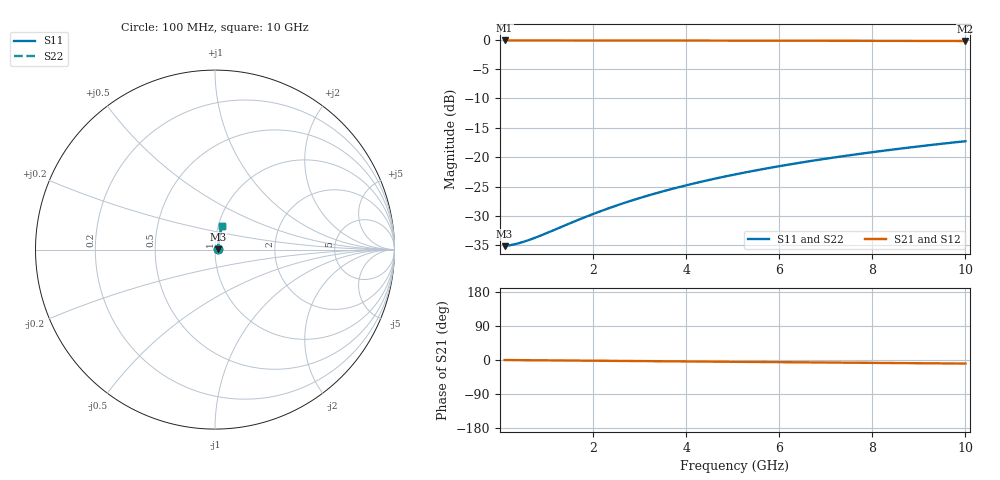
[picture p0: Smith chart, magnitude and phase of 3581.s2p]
# Hz S RI R 50.00
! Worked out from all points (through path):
!   100 points, 100 MHz to 10 GHz, reference 50 ohm
!   highest |S21| = -0.15 dB at 100 MHz (marker M1); lowest = -0.2 dB at 10 GHz (marker M2)
!   group delay of S21, straight-line fit = 2.61 ps
!   lowest |S11| = -35.1 dB at 100 MHz (marker M3), VSWR 1.04, Z = 51.8 + j0.138 ohm
!   |S11| at or under -10 dB: start of sweep to end of sweep
!   |S22| runs from -35.1 to -17.3 dB; largest |S21 - S12| = 0
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1e8  0.0174 0.00134  0.9826 -0.00162  0.9826 -0.00162  0.0174 0.00134
3e8  0.0176 0.00401  0.9824 -0.00486  0.9824 -0.00486  0.0176 0.00401
4e8  0.0177 0.00534  0.9823 -0.00648  0.9823 -0.00648  0.0177 0.00534
5e8  0.0178 0.00668  0.9822 -0.0081  0.9822 -0.0081  0.0178 0.00668
7e8  0.0179 0.00935  0.9821 -0.0113  0.9821 -0.0113  0.0179 0.00935
1e9  0.0182 0.0134  0.9818 -0.0162  0.9818 -0.0162  0.0182 0.0134
1.8e9  0.0189 0.024  0.9811 -0.0291  0.9811 -0.0291  0.0189 0.024
2.2e9  0.0193 0.0293  0.9807 -0.0356  0.9807 -0.0356  0.0193 0.0293
2.6e9  0.0198 0.0346  0.9802 -0.042  0.9802 -0.042  0.0198 0.0346
3e9  0.0203 0.0399  0.9796 -0.0485  0.9796 -0.0485  0.0203 0.0399
3.4e9  0.021 0.0452  0.979 -0.0549  0.979 -0.0549  0.021 0.0452
3.8e9  0.0216 0.0505  0.9783 -0.0613  0.9783 -0.0613  0.0216 0.0505
4.2e9  0.0224 0.0558  0.9775 -0.0678  0.9775 -0.0678  0.0224 0.0558
4.6e9  0.0232 0.0611  0.9767 -0.0742  0.9767 -0.0742  0.0232 0.0611
5.1e9  0.0243 0.0676  0.9756 -0.0821  0.9756 -0.0821  0.0243 0.0676
5.5e9  0.0253 0.0728  0.9746 -0.0885  0.9746 -0.0885  0.0253 0.0728
5.9e9  0.0263 0.0781  0.9735 -0.0949  0.9735 -0.0949  0.0263 0.0781
6.7e9  0.0286 0.0884  0.9712 -0.1075  0.9712 -0.1075  0.0286 0.0884
7.5e9  0.0311 0.0987  0.9686 -0.1201  0.9686 -0.1201  0.0311 0.0987
8.4e9  0.0343 0.1102  0.9654 -0.1342  0.9654 -0.1342  0.0343 0.1102
9.2e9  0.0374 0.1203  0.9623 -0.1466  0.9623 -0.1466  0.0374 0.1203
1e10  0.0407 0.1304  0.9588 -0.1589  0.9588 -0.1589  0.0407 0.1304
